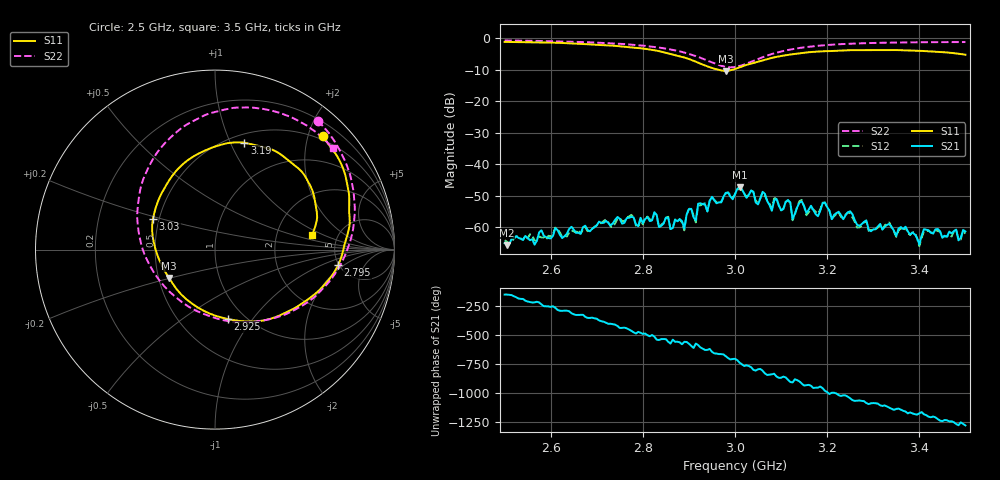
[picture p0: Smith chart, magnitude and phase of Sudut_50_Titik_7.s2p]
# Hz S RI R 50
! CMT, C1220, 16058040, 17.2.0/1
! Date: 15/08/2018 10:06:58
! Data: Format (Calibration Info)
! Freq  S11: Re/Im (F2)  S21: Re/Im (F2)  S12: Re/Im (F2)  S22: Re/Im (F2)
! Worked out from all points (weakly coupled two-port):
!   201 points, 2.5 GHz to 3.5 GHz, reference 50 ohm
!   highest |S21| = -47.32 dB at 3.01 GHz (marker M1); lowest = -65.7 dB at 2.505 GHz (marker M2)
!   lowest |S11| = -10.4 dB at 2.98 GHz (marker M3), VSWR 1.86, Z = 28.4 - j9.85 ohm
!   |S11| at or under -10 dB: 2.962 GHz to 2.995 GHz (32.93 MHz wide, 1.11 % of centre)
!   |S22| runs from -9.3 to -0.7 dB; largest |S21 - S12| = 0.00034
!   S11 on the Smith chart (normalised r, x): 2.5 GHz: 0.43, +2.26; 2.795 GHz: 4.91, -1.63; 2.925 GHz: 0.83, -0.76; 3.03 GHz: 0.46, +0.18; 3.19 GHz: 0.59, +1.13; 3.5 GHz: 3.22, +0.73
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2.5e9  0.599 0.6323  -0.000508 -0.000229  -0.00059 -0.00019  0.5727 0.7175
2.505e9  0.6053 0.6247  -0.000473 -0.000218  -0.000547 -0.000209  0.5782 0.712
2.67e9  0.7463 0.3119  0.000851 0.000517  0.000793 0.000452  0.7443 0.4428
2.795e9  0.6856 -0.0866  -0.000766 -0.00118  -0.000725 -0.0011  0.7622 0.0799
2.835e9  0.5776 -0.2297  -0.001 7.99e-05  -0.000989 4.81e-05  0.7042 -0.0751
2.89e9  0.3044 -0.3868  -0.000898 0.000332  -0.00084 0.000285  0.5108 -0.2963
2.9e9  0.2421 -0.3986  -0.00155 0.00114  -0.00161 0.00107  0.4544 -0.33
2.915e9  0.1409 -0.3982  -0.00104 0.000736  -0.000959 0.000694  0.3603 -0.3721
2.925e9  0.0708 -0.387  -0.000872 0.00222  -0.000962 0.00199  0.2915 -0.3907
2.98e9  -0.2562 -0.1579  0.00281 0.00209  0.00264 0.00215  -0.1451 -0.3192
3e9  -0.3234 -0.0239  0.00321 0.000808  0.00328 0.000589  -0.2798 -0.2075
3.01e9  -0.3414 0.0421  0.00407 -0.00141  0.00398 -0.00126  -0.3347 -0.1372
3.03e9  -0.346 0.1695  0.00222 -0.00239  0.00224 -0.00239  -0.4077 0.0159
3.115e9  -0.0944 0.5333  -0.00258 -0.00069  -0.0026 -0.000662  -0.292 0.5785
3.125e9  -0.0557 0.5522  -0.00132 0.000193  -0.00128 0.000119  -0.2534 0.6191
3.14e9  0.000911 0.5744  -0.00244 4.19e-06  -0.00259 0.000121  -0.1954 0.6702
3.17e9  0.1018 0.5967  -0.00104 0.00156  -0.00116 0.00152  -0.0775 0.7392
3.19e9  0.1642 0.5952  -0.00129 0.00201  -0.00117 0.00214  -0.00347 0.766
3.265e9  0.3614 0.5337  0.00105 0.000289  0.000948 0.000255  0.2397 0.7878
3.335e9  0.4882 0.4283  0.000784 -0.000799  0.000776 -0.000889  0.408 0.744
3.4e9  0.5499 0.306  -3.81e-05 -0.000532  -0.00012 -0.000483  0.5257 0.6803
3.5e9  0.5398 0.0793  -0.000815 0.000253  -0.000748 0.000238  0.6564 0.5644
